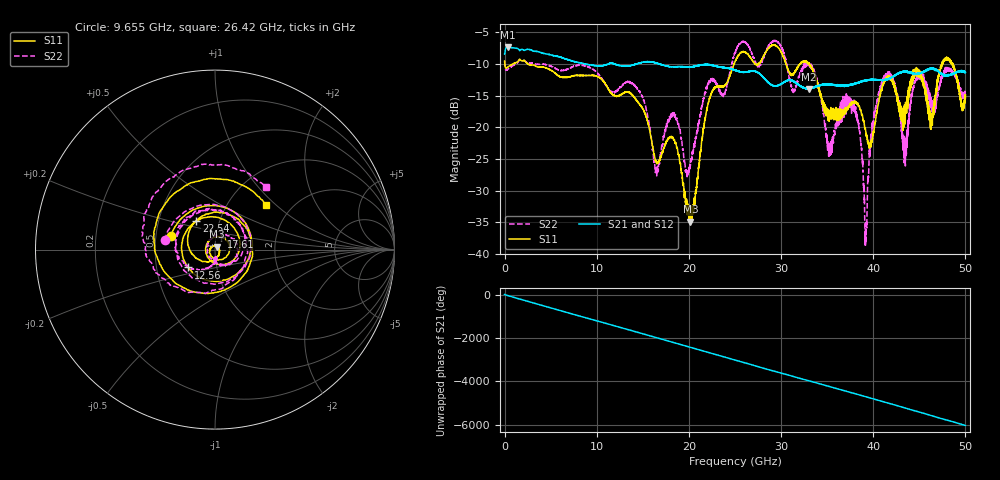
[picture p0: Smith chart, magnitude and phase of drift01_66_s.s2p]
!Created with skrf (http://scikit-rf.org).
# Hz S RI R 50.0
!freq ReS11 ImS11 ReS21 ImS21 ReS12 ImS12 ReS22 ImS22
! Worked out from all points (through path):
!   10001 points, 300 kHz to 50 GHz, reference 50 ohm
!   highest |S21| = -7.33 dB at 320.3 MHz (marker M1); lowest = -14.0 dB at 33.02 GHz (marker M2)
!   group delay of S21, straight-line fit = 335 ps
!   lowest |S11| = -34.9 dB at 20.17 GHz (marker M3), VSWR 1.04, Z = 50.9 + j1.59 ohm
!   |S11| at or under -10 dB: 2.567 GHz to 24.9 GHz (22.33 GHz wide, 163 % of centre); 30.53 GHz to 32.03 GHz (1.494 GHz wide, 4.78 % of centre); 33.07 GHz to 47.47 GHz (14.39 GHz wide, 35.7 % of centre) (the widest 3 of 27)
!   |S22| runs from -38.8 to -6.3 dB; largest |S21 - S12| = 0.011
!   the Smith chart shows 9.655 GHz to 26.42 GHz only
!   S11 on the Smith chart (normalised r, x): 9.655 GHz: 0.60, +0.10; 12.56 GHz: 0.73, -0.15; 17.61 GHz: 1.06, +0.15; 22.54 GHz: 0.77, +0.26; 26.42 GHz: 1.51, +0.86
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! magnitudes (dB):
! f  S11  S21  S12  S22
! 300 kHz  -9.5  -8.4  -8.5  -9.5
! 320.3 MHz  -10.5  -7.3  -7.3  -10.9
! 8.335 GHz  -11.8  -9.8  -9.8  -10.2
! 9.655 GHz  -11.8  -10.2  -10.2  -10.9
! 12.56 GHz  -14.9  -10.3  -10.3  -13.6
! 16.67 GHz  -25.7  -9.9  -9.9  -26.9
! 17.61 GHz  -22.1  -10.3  -10.3  -19.8
! 20.17 GHz  -34.9  -10.4  -10.4  -25.7
! 22.54 GHz  -14.3  -10.2  -10.2  -12.3
! 25 GHz  -9.6  -11.0  -11.0  -8.3
! 26.42 GHz  -8.5  -11.2  -11.2  -7.0
! 33.02 GHz  -9.9  -14.0  -13.8  -10.2
! 33.34 GHz  -10.7  -13.8  -13.7  -10.6
! 35.28 GHz  -18.0  -13.2  -13.3  -22.8
! 38.03 GHz  -16.1  -13.1  -13.1  -17.1
! 39.17 GHz  -20.4  -12.6  -12.6  -38.4
! 40.11 GHz  -20.2  -12.5  -12.5  -17.7
! 41.67 GHz  -11.8  -12.3  -12.3  -12.2
! 43.44 GHz  -18.2  -11.2  -11.2  -24.0
! 44.86 GHz  -11.0  -11.6  -11.5  -11.9
! 46.27 GHz  -20.3  -10.7  -10.7  -16.1
! 50 GHz  -15.4  -11.3  -11.3  -14.9
